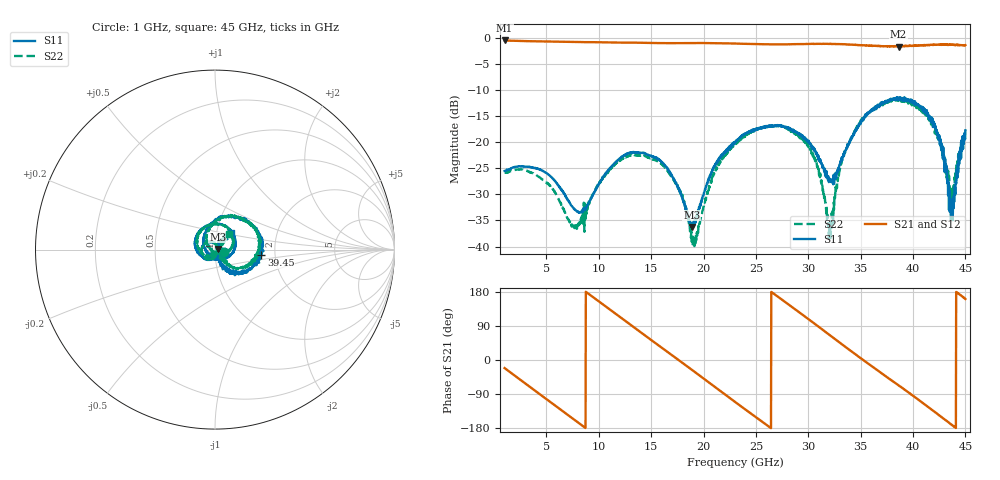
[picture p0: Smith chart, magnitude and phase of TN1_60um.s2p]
!Keysight Technologies,N5247B,MY61255062,A.19.80.06
!Date: Thursday, May 21, 2026 11:29:22
!Correction: S11(Cdelta 2-Port  )
!S21(Cdelta 2-Port  )
!S12(Cdelta 2-Port  )
!S22(Cdelta 2-Port  )
!S2P File: Measurements: S11, S21, S12, S22:
# Hz S  dB  R 50
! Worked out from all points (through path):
!   1601 points, 1 GHz to 45 GHz, reference 50 ohm
!   highest |S21| = -0.49 dB at 1 GHz (marker M1); lowest = -1.7 dB at 38.62 GHz (marker M2)
!   group delay of S21, straight-line fit = 56.5 ps
!   lowest |S11| = -36.2 dB at 18.88 GHz (marker M3), VSWR 1.03, Z = 51.5 + j0.306 ohm
!   |S11| at or under -10 dB: start of sweep to end of sweep
!   |S22| runs from -39.9 to -11.7 dB; largest |S21 - S12| = 0.016
!   S11 on the Smith chart (normalised r, x): 1 GHz: 1.11, -0.03; 39.45 GHz: 1.69, -0.11; 45 GHz: 1.17, +0.22
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1e9  -25.51 -16.4  -0.49 -21.3  -0.49 -21.3  -25.74 -16.7
2.925e9  -24.67 -62.7  -0.61 -60.9  -0.61 -60.9  -25.34 -62.7
4.575e9  -25.41 -100.0  -0.68 -94.7  -0.68 -94.7  -27.10 -100.2
8.3425e9  -33.36 -110.8  -0.79 -171.7  -0.79 -171.7  -35.37 -89.2
1.01575e10  -27.46 -96.7  -0.84 151.4  -0.84 151.3  -27.33 -92.9
1.23025e10  -22.66 -130.9  -0.90 107.7  -0.90 107.7  -23.05 -135.6
1.5685e10  -23.21 155.0  -0.99 38.9  -0.99 38.9  -23.69 145.4
1.77475e10  -29.45 93.6  -1.01 -2.8  -1.00 -2.8  -29.62 87.7
1.8875e10  -36.22 11.1  -0.99 -25.8  -0.99 -25.8  -39.10 22.4
2.10475e10  -24.73 -122.2  -1.00 -70.3  -1.00 -70.3  -25.59 -136.2
2.3e10  -19.97 -175.1  -1.08 -110.5  -1.08 -110.5  -20.55 173.2
2.66025e10  -16.85 86.7  -1.25 176.8  -1.23 176.9  -17.02 86.6
3.03425e10  -20.64 -20.1  -1.13 101.1  -1.14 101.1  -21.88 -6.1
3.2075e10  -27.02 -119.3  -1.17 65.2  -1.17 65.2  -36.51 -132.9
3.3945e10  -20.07 124.2  -1.27 26.3  -1.28 26.4  -19.78 114.9
3.57875e10  -14.20 74.2  -1.46 -11.0  -1.49 -11.0  -14.28 72.9
3.7685e10  -11.91 30.9  -1.59 -48.6  -1.61 -48.6  -11.89 33.0
3.862e10  -11.55 9.9  -1.67 -66.9  -1.62 -67.2  -11.84 13.7
3.9445e10  -11.72 -6.9  -1.54 -82.9  -1.54 -83.0  -12.20 0.1
4.2085e10  -17.23 -61.5  -1.27 -137.4  -1.29 -137.3  -18.33 -48.3
4.36525e10  -33.35 -42.4  -1.33 -170.0  -1.34 -170.2  -31.21 5.3
4.5e10  -17.72 46.3  -1.38 161.1  -1.43 161.1  -18.71 47.7
